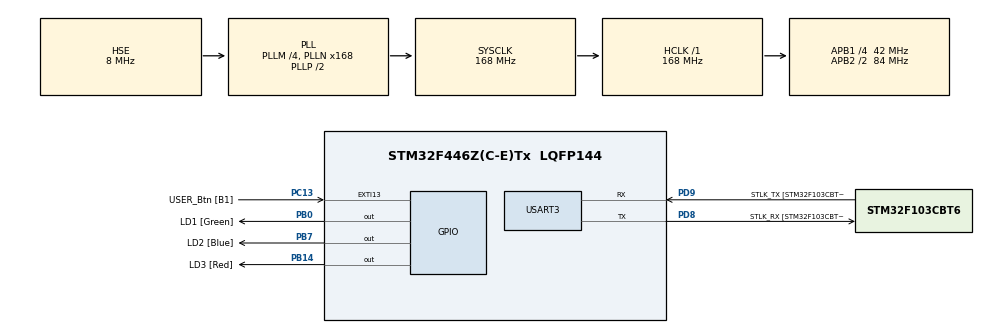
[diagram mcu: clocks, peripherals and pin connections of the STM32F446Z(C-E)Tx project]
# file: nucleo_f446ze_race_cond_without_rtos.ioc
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Mcu.Family=STM32F4
Mcu.Name=STM32F446Z(C-E)Tx
Mcu.Package=LQFP144
NVIC.PriorityGroup=NVIC_PRIORITYGROUP_4
NVIC.TIM2_IRQn=true\:0\:0\:false\:false\:true\:true\:true\:true
PA13.GPIO_Label=TMS
PA13.Mode=Serial_Wire
PA13.Signal=SYS_JTMS-SWDIO
PA14.GPIO_Label=TCK
PA14.Mode=Serial_Wire
PA14.Signal=SYS_JTCK-SWCLK
PB0.GPIO_Label=LD1 [Green]
PB0.Signal=GPIO_Output
PB14.GPIO_Label=LD3 [Red]
PB14.Signal=GPIO_Output
PB7.GPIO_Label=LD2 [Blue]
PB7.Signal=GPIO_Output
PC13.GPIO_Label=USER_Btn [B1]
PC13.Signal=GPXTI13
PC14-OSC32_IN.Mode=LSE-External-Oscillator
PC14-OSC32_IN.Signal=RCC_OSC32_IN
PC15-OSC32_OUT.Mode=LSE-External-Oscillator
PC15-OSC32_OUT.Signal=RCC_OSC32_OUT
PD8.GPIO_Label=STLK_RX [STM32F103CBT6_PA3]
PD8.Mode=Asynchronous
PD8.Signal=USART3_TX
PD9.GPIO_Label=STLK_TX [STM32F103CBT6_PA2]
PD9.Mode=Asynchronous
PD9.Signal=USART3_RX
PH0-OSC_IN.GPIO_Label=MCO [STM32F103CBT6_PA8]
PH0-OSC_IN.Mode=HSE-External-Clock-Source
PH0-OSC_IN.Signal=RCC_OSC_IN
PH1-OSC_OUT.Mode=HSE-External-Clock-Source
PH1-OSC_OUT.Signal=RCC_OSC_OUT
ProjectManager.HeapSize=0x200
ProjectManager.StackSize=0x400
ProjectManager.TargetToolchain=STM32CubeIDE
RCC.48MHZClocksFreq_Value=24000000
RCC.AHBFreq_Value=168000000
RCC.APB1CLKDivider=RCC_HCLK_DIV4
RCC.APB1Freq_Value=42000000
RCC.APB1TimFreq_Value=84000000
RCC.APB2CLKDivider=RCC_HCLK_DIV2
RCC.APB2Freq_Value=84000000
RCC.APB2TimFreq_Value=168000000
RCC.CortexFreq_Value=168000000
RCC.HCLKFreq_Value=168000000
RCC.HSE_VALUE=8000000
RCC.HSI_VALUE=16000000
RCC.PLLM=4
RCC.PLLMUL=RCC_PLL_MUL9
RCC.PLLN=168
RCC.PLLQ=7
RCC.PLLSourceVirtual=RCC_PLLSOURCE_HSE
RCC.PRESCALERUSB=RCC_USBCLKSOURCE_PLL_DIV1_5
RCC.SYSCLKFreq_VALUE=168000000
RCC.SYSCLKSource=RCC_SYSCLKSOURCE_PLLCLK
RCC.SYSCLKSourceVirtual=RCC_SYSCLKSOURCE_PLLCLK
RCC.USBFreq_Value=48000000
RCC.VCOOutputFreq_Value=336000000
TIM2.Period=9
TIM2.Prescaler=83
USART3.VirtualMode=VM_ASYNC
VP_TIM2_VS_ClockSourceINT.Mode=Internal
board=NUCLEO-F446ZE

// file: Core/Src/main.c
/* USER CODE BEGIN Header */
/**
  ******************************************************************************
  * @file           : main.c
  * @brief          : Main program body
  ******************************************************************************
  * @attention
  *
  * Copyright (c) 2024 STMicroelectronics.
  * All rights reserved.
  *
  * This software is licensed under terms that can be found in the LICENSE file
  * in the root directory of this software component.
  * If no LICENSE file comes with this software, it is provided AS-IS.
  *
  ******************************************************************************
  */
/* USER CODE END Header */
#include "main.h"

TIM_HandleTypeDef htim2;

UART_HandleTypeDef huart3;

void SystemClock_Config(void);
static void MX_GPIO_Init(void);
static void MX_USART3_UART_Init(void);
static void MX_TIM2_Init(void);

/* USER CODE BEGIN 0 */

#define MANY_ITERATIONS			10000000
#define FEW_ITERATIONS			10000

// Global variable to be accessed by both main code and interrupt handlers
volatile uint32_t shared_counter = 0;
volatile uint32_t while_counter = 0;
volatile uint32_t time_counter = 0;

// Timer 2 interrupt handler
void HAL_TIM_PeriodElapsedCallback(TIM_HandleTypeDef *htim)
{
  if (htim->Instance == htim2.Instance)
  {
	if(time_counter < FEW_ITERATIONS)
	{
	  time_counter++;
	  // Critical section: increment shared_counter
	  shared_counter++;
	}
  }
}

/* USER CODE END 0 */

int main(void)
{

  /* MCU Configuration--------------------------------------------------------*/

  /* Reset of all peripherals, Initializes the Flash interface and the Systick. */
  HAL_Init();

  /* Configure the system clock */
  SystemClock_Config();

  /* Initialize all configured peripherals */
  MX_GPIO_Init();
  MX_USART3_UART_Init();
  MX_TIM2_Init();
  /* USER CODE BEGIN 2 */

  // Start Timer 2
  HAL_TIM_Base_Start_IT(&htim2);

  /* USER CODE END 2 */

  /* Infinite loop */
  /* USER CODE BEGIN WHILE */
  while (1)
  {
	if(while_counter < MANY_ITERATIONS)
	{
	  while_counter++;
	  // Critical section: increment shared_counter
	  shared_counter++;
	}

	if(time_counter >= FEW_ITERATIONS && while_counter >= MANY_ITERATIONS)
	{
	  asm ("nop");
	}
    /* USER CODE END WHILE */

  }
}

void SystemClock_Config(void)
{
  RCC_OscInitTypeDef RCC_OscInitStruct = {0};
  RCC_ClkInitTypeDef RCC_ClkInitStruct = {0};

  /** Configure the main internal regulator output voltage
  */
  __HAL_RCC_PWR_CLK_ENABLE();
  __HAL_PWR_VOLTAGESCALING_CONFIG(PWR_REGULATOR_VOLTAGE_SCALE1);

  /** Initializes the RCC Oscillators according to the specified parameters
  * in the RCC_OscInitTypeDef structure.
  */
  RCC_OscInitStruct.OscillatorType = RCC_OSCILLATORTYPE_HSE;
  RCC_OscInitStruct.HSEState = RCC_HSE_BYPASS;
  RCC_OscInitStruct.PLL.PLLState = RCC_PLL_ON;
  RCC_OscInitStruct.PLL.PLLSource = RCC_PLLSOURCE_HSE;
  RCC_OscInitStruct.PLL.PLLM = 4;
  RCC_OscInitStruct.PLL.PLLN = 168;
  RCC_OscInitStruct.PLL.PLLP = RCC_PLLP_DIV2;
  RCC_OscInitStruct.PLL.PLLQ = 7;
  RCC_OscInitStruct.PLL.PLLR = 2;
  if (HAL_RCC_OscConfig(&RCC_OscInitStruct) != HAL_OK)
  {
    Error_Handler();
  }

  /** Initializes the CPU, AHB and APB buses clocks
  */
  RCC_ClkInitStruct.ClockType = RCC_CLOCKTYPE_HCLK|RCC_CLOCKTYPE_SYSCLK
                              |RCC_CLOCKTYPE_PCLK1|RCC_CLOCKTYPE_PCLK2;
  RCC_ClkInitStruct.SYSCLKSource = RCC_SYSCLKSOURCE_PLLCLK;
  RCC_ClkInitStruct.AHBCLKDivider = RCC_SYSCLK_DIV1;
  RCC_ClkInitStruct.APB1CLKDivider = RCC_HCLK_DIV4;
  RCC_ClkInitStruct.APB2CLKDivider = RCC_HCLK_DIV2;

  if (HAL_RCC_ClockConfig(&RCC_ClkInitStruct, FLASH_LATENCY_5) != HAL_OK)
  {
    Error_Handler();
  }
}

static void MX_TIM2_Init(void)
{

  TIM_ClockConfigTypeDef sClockSourceConfig = {0};
  TIM_MasterConfigTypeDef sMasterConfig = {0};

  htim2.Instance = TIM2;
  htim2.Init.Prescaler = 83;
  htim2.Init.CounterMode = TIM_COUNTERMODE_UP;
  htim2.Init.Period = 9;
  htim2.Init.ClockDivision = TIM_CLOCKDIVISION_DIV1;
  htim2.Init.AutoReloadPreload = TIM_AUTORELOAD_PRELOAD_DISABLE;
  if (HAL_TIM_Base_Init(&htim2) != HAL_OK)
  {
    Error_Handler();
  }
  sClockSourceConfig.ClockSource = TIM_CLOCKSOURCE_INTERNAL;
  if (HAL_TIM_ConfigClockSource(&htim2, &sClockSourceConfig) != HAL_OK)
  {
    Error_Handler();
  }
  sMasterConfig.MasterOutputTrigger = TIM_TRGO_RESET;
  sMasterConfig.MasterSlaveMode = TIM_MASTERSLAVEMODE_DISABLE;
  if (HAL_TIMEx_MasterConfigSynchronization(&htim2, &sMasterConfig) != HAL_OK)
  {
    Error_Handler();
  }

}

static void MX_USART3_UART_Init(void)
{

  huart3.Instance = USART3;
  huart3.Init.BaudRate = 115200;
  huart3.Init.WordLength = UART_WORDLENGTH_8B;
  huart3.Init.StopBits = UART_STOPBITS_1;
  huart3.Init.Parity = UART_PARITY_NONE;
  huart3.Init.Mode = UART_MODE_TX_RX;
  huart3.Init.HwFlowCtl = UART_HWCONTROL_NONE;
  huart3.Init.OverSampling = UART_OVERSAMPLING_16;
  if (HAL_UART_Init(&huart3) != HAL_OK)
  {
    Error_Handler();
  }

}

static void MX_GPIO_Init(void)
{
  GPIO_InitTypeDef GPIO_InitStruct = {0};

  /* GPIO Ports Clock Enable */
  __HAL_RCC_GPIOC_CLK_ENABLE();
  __HAL_RCC_GPIOH_CLK_ENABLE();
  __HAL_RCC_GPIOB_CLK_ENABLE();
  __HAL_RCC_GPIOD_CLK_ENABLE();
  __HAL_RCC_GPIOA_CLK_ENABLE();

  /*Configure GPIO pin Output Level */
  HAL_GPIO_WritePin(GPIOB, LD1_Pin|LD3_Pin|LD2_Pin, GPIO_PIN_RESET);

  /*Configure GPIO pin : USER_Btn_Pin */
  GPIO_InitStruct.Pin = USER_Btn_Pin;
  GPIO_InitStruct.Mode = GPIO_MODE_IT_RISING;
  GPIO_InitStruct.Pull = GPIO_NOPULL;
  HAL_GPIO_Init(USER_Btn_GPIO_Port, &GPIO_InitStruct);

  /*Configure GPIO pins : LD1_Pin LD3_Pin LD2_Pin */
  GPIO_InitStruct.Pin = LD1_Pin|LD3_Pin|LD2_Pin;
  GPIO_InitStruct.Mode = GPIO_MODE_OUTPUT_PP;
  GPIO_InitStruct.Pull = GPIO_NOPULL;
  GPIO_InitStruct.Speed = GPIO_SPEED_FREQ_LOW;
  HAL_GPIO_Init(GPIOB, &GPIO_InitStruct);

}

void Error_Handler(void)
{
  __disable_irq();
  while (1)
  {
  }
}
